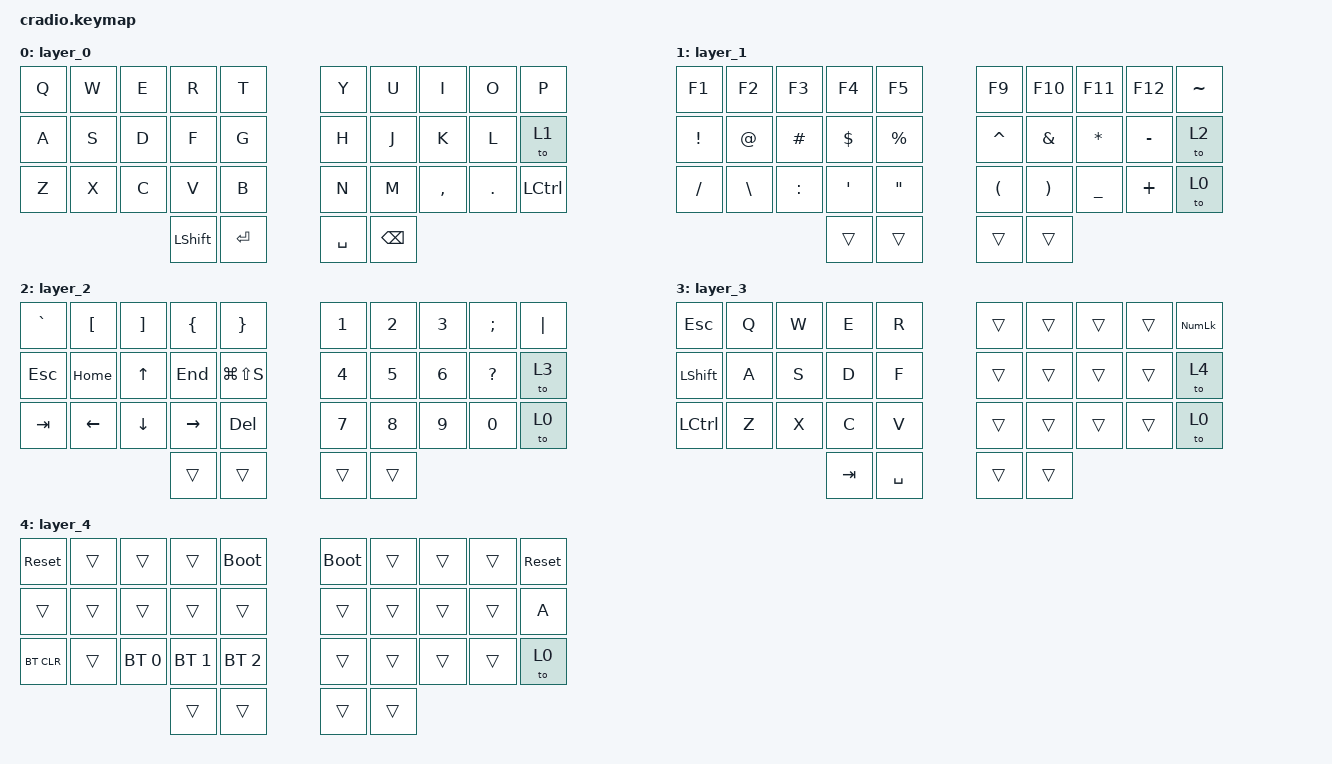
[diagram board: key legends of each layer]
#include <behaviors.dtsi>
#include <dt-bindings/zmk/bt.h>
#include <dt-bindings/zmk/keys.h>

/ {
    keymap {
        compatible = "zmk,keymap";

        layer_0 {
            bindings = <
&kp Q  &kp W  &kp E  &kp R           &kp T        &kp Y      &kp U          &kp I      &kp O       &kp P
&kp A  &kp S  &kp D  &kp F           &kp G        &kp H      &kp J          &kp K      &kp L       &to 1
&kp Z  &kp X  &kp C  &kp V           &kp B        &kp N      &kp M          &kp COMMA  &kp PERIOD  &kp LCTRL
                     &kp LEFT_SHIFT  &kp ENTER    &kp SPACE  &kp BACKSPACE
            >;
        };

        layer_1 {
            bindings = <
&kp F1           &kp F2         &kp F3     &kp F4      &kp F5               &kp F9                &kp F10                &kp F11         &kp F12    &kp TILDE
&kp EXCLAMATION  &kp AT_SIGN    &kp HASH   &kp DOLLAR  &kp PERCENT          &kp CARET             &kp AMPERSAND          &kp ASTERISK    &kp MINUS  &to 2
&kp SLASH        &kp BACKSLASH  &kp COLON  &kp SQT     &kp DOUBLE_QUOTES    &kp LEFT_PARENTHESIS  &kp RIGHT_PARENTHESIS  &kp UNDERSCORE  &kp PLUS   &to 0
                                           &trans      &trans               &trans                &trans
            >;
        };

        layer_2 {
            bindings = <
&kp GRAVE  &kp LEFT_BRACKET  &kp RIGHT_BRACKET  &kp LEFT_BRACE   &kp RIGHT_BRACE    &kp NUMBER_1  &kp NUMBER_2  &kp NUMBER_3  &kp SEMICOLON  &kp PIPE
&kp ESC    &kp HOME          &kp UP_ARROW       &kp END          &kp LG(LS(S))      &kp NUMBER_4  &kp N5        &kp NUMBER_6  &kp QUESTION   &to 3
&kp TAB    &kp LEFT_ARROW    &kp DOWN_ARROW     &kp RIGHT_ARROW  &kp DEL            &kp N7        &kp N8        &kp N9        &kp N0         &to 0
                                                &trans           &trans             &trans        &trans
            >;
        };

        layer_3 {
            bindings = <
&kp ESCAPE      &kp Q  &kp W  &kp E    &kp R        &trans  &trans  &trans  &trans  &kp KP_NUMLOCK
&kp LEFT_SHIFT  &kp A  &kp S  &kp D    &kp F        &trans  &trans  &trans  &trans  &to 4
&kp LCTRL       &kp Z  &kp X  &kp C    &kp V        &trans  &trans  &trans  &trans  &to 0
                              &kp TAB  &kp SPACE    &trans  &trans
            >;
        };

        layer_4 {
            bindings = <
&sys_reset  &trans  &trans        &trans        &bootloader     &bootloader  &trans  &trans  &trans  &sys_reset
&trans      &trans  &trans        &trans        &trans          &trans       &trans  &trans  &trans  &kp A
&bt BT_CLR  &trans  &bt BT_SEL 0  &bt BT_SEL 1  &bt BT_SEL 2    &trans       &trans  &trans  &trans  &to 0
                                  &trans        &trans          &trans       &trans
            >;
        };
    };
};
